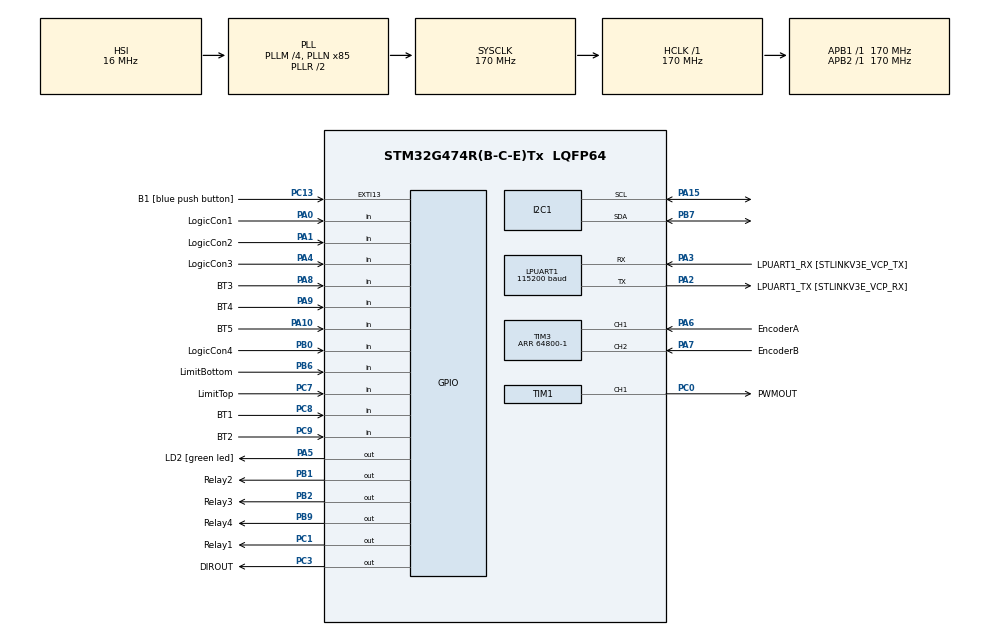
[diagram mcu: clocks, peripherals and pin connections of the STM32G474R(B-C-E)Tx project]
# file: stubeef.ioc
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ARM.CMSIS-DSP.1.15.0.CMSISJjDSP=Source
ARM.CMSIS.6.0.0.CMSISJjCORE=true
I2C1.Timing=0x30A0A7FB
LPUART1.BaudRate=115200
LPUART1.WordLength=UART_WORDLENGTH_8B
Mcu.Family=STM32G4
Mcu.Name=STM32G474R(B-C-E)Tx
Mcu.Package=LQFP64
NVIC.EXTI15_10_IRQn=true\:0\:0\:false\:false\:true\:true\:true\:true
NVIC.PriorityGroup=NVIC_PRIORITYGROUP_4
NVIC.TIM3_IRQn=true\:0\:0\:false\:false\:true\:true\:true\:true
NVIC.TIM5_IRQn=true\:0\:0\:false\:false\:true\:true\:true\:true
PA0.GPIO_Label=LogicCon1
PA0.GPIO_PuPd=GPIO_PULLUP
PA0.Signal=GPIO_Input
PA1.GPIO_Label=LogicCon2
PA1.GPIO_PuPd=GPIO_PULLUP
PA1.Signal=GPIO_Input
PA10.GPIO_Label=BT5
PA10.GPIO_PuPd=GPIO_PULLUP
PA10.Signal=GPIO_Input
PA13.GPIO_Label=T_SWDIO
PA13.Mode=Serial_Wire
PA13.Signal=SYS_JTMS-SWDIO
PA14.GPIO_Label=T_SWCLK
PA14.Mode=Serial_Wire
PA14.Signal=SYS_JTCK-SWCLK
PA15.Mode=I2C
PA15.Signal=I2C1_SCL
PA2.GPIO_Label=LPUART1_TX [STLINKV3E_VCP_RX]
PA2.Mode=Asynchronous
PA2.Signal=LPUART1_TX
PA3.GPIO_Label=LPUART1_RX [STLINKV3E_VCP_TX]
PA3.Mode=Asynchronous
PA3.Signal=LPUART1_RX
PA4.GPIO_Label=LogicCon3
PA4.GPIO_PuPd=GPIO_PULLUP
PA4.Signal=GPIO_Input
PA5.GPIO_Label=LD2 [green led]
PA5.Signal=GPIO_Output
PA6.GPIO_Label=EncoderA
PA6.Signal=S_TIM3_CH1
PA7.GPIO_Label=EncoderB
PA7.Signal=S_TIM3_CH2
PA8.GPIO_Label=BT3
PA8.GPIO_PuPd=GPIO_PULLUP
PA8.Signal=GPIO_Input
PA9.GPIO_Label=BT4
PA9.GPIO_PuPd=GPIO_PULLUP
PA9.Signal=GPIO_Input
PB0.GPIO_Label=LogicCon4
PB0.GPIO_PuPd=GPIO_PULLUP
PB0.Signal=GPIO_Input
PB1.GPIO_Label=Relay2
PB1.Signal=GPIO_Output
PB2.GPIO_Label=Relay3
PB2.Signal=GPIO_Output
PB3.GPIO_Label=T_SWO
PB3.Signal=SYS_JTDO-SWO
PB6.GPIO_Label=LimitBottom
PB6.GPIO_PuPd=GPIO_PULLUP
PB6.Signal=GPIO_Input
PB7.Mode=I2C
PB7.Signal=I2C1_SDA
PB9.GPIO_Label=Relay4
PB9.Signal=GPIO_Output
PC0.GPIO_Label=PWMOUT
PC0.Signal=S_TIM1_CH1
PC1.GPIO_Label=Relay1
PC1.Signal=GPIO_Output
PC13.GPIO_Label=B1 [blue push button]
PC13.Signal=GPXTI13
PC14-OSC32_IN.Mode=LSE-External-Oscillator
PC14-OSC32_IN.Signal=RCC_OSC32_IN
PC15-OSC32_OUT.Mode=LSE-External-Oscillator
PC15-OSC32_OUT.Signal=RCC_OSC32_OUT
PC3.GPIO_Label=DIROUT
PC3.Signal=GPIO_Output
PC7.GPIO_Label=LimitTop
PC7.GPIO_PuPd=GPIO_PULLUP
PC7.Signal=GPIO_Input
PC8.GPIO_Label=BT1
PC8.GPIO_PuPd=GPIO_PULLUP
PC8.Signal=GPIO_Input
PC9.GPIO_Label=BT2
PC9.GPIO_PuPd=GPIO_PULLUP
PC9.Signal=GPIO_Input
PF0-OSC_IN.Mode=HSE-External-Oscillator
PF0-OSC_IN.Signal=RCC_OSC_IN
PF1-OSC_OUT.Mode=HSE-External-Oscillator
PF1-OSC_OUT.Signal=RCC_OSC_OUT
ProjectManager.HeapSize=0x200
ProjectManager.StackSize=0x400
ProjectManager.TargetToolchain=STM32CubeIDE
RCC.ADC12Freq_Value=170000000
RCC.ADC345Freq_Value=170000000
RCC.AHBFreq_Value=170000000
RCC.APB1Freq_Value=170000000
RCC.APB1TimFreq_Value=170000000
RCC.APB2Freq_Value=170000000
RCC.APB2TimFreq_Value=170000000
RCC.CortexFreq_Value=170000000
RCC.EXTERNAL_CLOCK_VALUE=12288000
RCC.HCLKFreq_Value=170000000
RCC.HSE_VALUE=24000000
RCC.HSI48_VALUE=48000000
RCC.HSI_VALUE=16000000
RCC.PLLM=RCC_PLLM_DIV4
RCC.PLLN=85
RCC.RTCClockSelection=RCC_RTCCLKSOURCE_LSE
RCC.SYSCLKFreq_VALUE=170000000
RCC.SYSCLKSource=RCC_SYSCLKSOURCE_PLLCLK
RCC.USBFreq_Value=170000000
RCC.VCOOutputFreq_Value=340000000
SH.S_TIM1_CH1.0=TIM1_CH1,PWM Generation1 CH1
SH.S_TIM3_CH1.0=TIM3_CH1,Encoder_Interface
SH.S_TIM3_CH2.0=TIM3_CH2,Encoder_Interface
TIM1.Channel-PWM\ Generation1\ CH1=TIM_CHANNEL_1
TIM1.PeriodNoDither=4000
TIM1.Prescaler=170-1
TIM3.EncoderMode=TIM_ENCODERMODE_TI12
TIM3.PeriodNoDither=64800-1
TIM5.Prescaler=170-1
VP_ARM.CMSIS-DSP_VS_CMSISJjDSP_1.15.0_1.15.0.Mode=CMSISJjDSP
VP_ARM.CMSIS_VS_CMSISJjCORE_6.0.0_6.0.0.Mode=CMSISJjCORE
VP_SYS_VS_DBSignals.Mode=DisableDeadBatterySignals
VP_TIM2_VS_ClockSourceINT.Mode=Internal
VP_TIM5_VS_ClockSourceINT.Mode=Internal
board=NUCLEO-G474RE

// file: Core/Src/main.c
/* USER CODE BEGIN Header */
/**
  ******************************************************************************
  * @file           : main.c
  * @brief          : Main program body
  ******************************************************************************
  * @attention
  *
  * Copyright (c) 2024 STMicroelectronics.
  * All rights reserved.
  *
  * This software is licensed under terms that can be found in the LICENSE file
  * in the root directory of this software component.
  * If no LICENSE file comes with this software, it is provided AS-IS.
  *
  ******************************************************************************
  */
/* USER CODE END Header */
#include "main.h"

/* USER CODE BEGIN Includes */
#include "arm_math.h"
/* USER CODE END Includes */

I2C_HandleTypeDef hi2c1;

UART_HandleTypeDef hlpuart1;

TIM_HandleTypeDef htim1;
TIM_HandleTypeDef htim2;
TIM_HandleTypeDef htim3;
TIM_HandleTypeDef htim5;

/* USER CODE BEGIN PV */
uint64_t upper = 0;
uint64_t read = 0;
float linearspeed = 0;
uint8_t numOfRound = 0;
uint32_t realPos = 0;

uint32_t QEIReadRaw;
float Degree;
float Radian;
float velodegree;

typedef struct
{
// for record New / Old value to calculate dx / dt
	uint32_t Position[2];
	uint64_t TimeStamp[2];
	float QEIPostion_1turn[2];
	float QEIAngularVelocity;
	float Angle;
	float TotalPos;
	float QEIRound;

}QEI_StructureTypeDef;

QEI_StructureTypeDef QEIdata = {0};
uint64_t _micros = 0;

enum
{
	NEW,OLD
};

//motor
uint16_t duty_cycle = 2000;
uint8_t DIR = 0;

//LogicConv
uint8_t Lo1 = 0;
uint8_t Lo2 = 0;
uint8_t Lo3 = 0;
uint8_t Lo4 = 0;

//Botton
uint8_t bt1=0;
uint8_t bt2=0;
uint8_t bt3=0;
uint8_t bt4=0;
uint8_t bt5=0;

uint8_t ro1=0;
uint8_t ro2=0;
uint8_t ro3=0;
uint8_t ro4=0;

//Limit
uint8_t LimitTop = 0;
uint8_t LimitBottom = 0;
uint8_t x = 0;
//RelayWrite

arm_pid_instance_f32 PID = {0};
float Vfeedback;
float Goal;
uint16_t duty_cycle_pid;
uint8_t mode = 1;
/* USER CODE END PV */

void SystemClock_Config(void);
static void MX_GPIO_Init(void);
static void MX_LPUART1_UART_Init(void);
static void MX_I2C1_Init(void);
static void MX_TIM1_Init(void);
static void MX_TIM3_Init(void);
static void MX_TIM2_Init(void);
static void MX_TIM5_Init(void);
/* USER CODE BEGIN PFP */
uint64_t Micros();
void QEIEncoderPosVel_Update();
void ReadLogicConv();
void ReadButton();
void ReadLimit();
void WritePins();
void MotorDrive();
void RelayDrive();
/* USER CODE END PFP */

int main(void)
{

  /* MCU Configuration--------------------------------------------------------*/

  /* Reset of all peripherals, Initializes the Flash interface and the Systick. */

	HAL_Init();

  /* Configure the system clock */
  SystemClock_Config();

  /* Initialize all configured peripherals */
  MX_GPIO_Init();
  MX_LPUART1_UART_Init();
  MX_I2C1_Init();
  MX_TIM1_Init();
  MX_TIM3_Init();
  MX_TIM2_Init();
  MX_TIM5_Init();
  /* USER CODE BEGIN 2 */
//  HAL_TIM_Base_Start(&htim4);
//  HAL_TIM_PWM_Start(&htim4, TIM_CHANNEL_1);
//  HAL_TIM_PWM_Start(&htim4, TIM_CHANNEL_2);
//
//  __HAL_TIM_SET_COMPARE(&htim4, TIM_CHANNEL_1, 0);
//  __HAL_TIM_SET_COMPARE(&htim4, TIM_CHANNEL_2, 500);

  	//pwm setup
	HAL_TIM_Base_Start(&htim1);
	HAL_TIM_PWM_Start(&htim1, TIM_CHANNEL_1);
	__HAL_TIM_SET_COMPARE(&htim1, TIM_CHANNEL_1,0);

	HAL_TIM_Encoder_Start(&htim3, TIM_CHANNEL_ALL);
	HAL_TIM_Base_Start_IT(&htim5);
	upper = 0;

	PID.Kp =0.1;
	PID.Ki =0.0;
	PID.Kd = 0.0;
	arm_pid_init_f32(&PID, 0);

  /* USER CODE END 2 */

  /* Infinite loop */
  while (1)
  {

    /* USER CODE BEGIN 3 */
	  // 63488 step/31rev
//	  _micros = Micros();

//	 Degree = QEIReadRaw*360/8192;
//	 Radian = QEIReadRaw*(2*3.14)/8192;
	 //Call every 0.1 s
	 static uint64_t timestamp =0;
	 int64_t currentTime = Micros();
	 ReadLimit();
	 if(currentTime > timestamp)
	 {
		 timestamp =currentTime + 10;//us
//		 QEIReadRaw = __HAL_TIM_GET_COUNTER(&htim3);
		 QEIEncoderPosVel_Update();
//		 uint32_t diffPos = QEIdata.Position[1] - QEIdata.Position[0];
//
//
//		 if (diffPos > 100 ) {
//			 numOfRound -= 1;
//		 }
//		 if (diffPos < -100) {
//			 numOfRound += 1;
//		 }

		 realPos = QEIReadRaw + numOfRound * 200;
		 velodegree = QEIdata.QEIAngularVelocity;
		 velodegree = (velodegree*60)/800;
		 linearspeed = velodegree*14/60.0;

//		 if(velodegree > 0){HAL_GPIO_WritePin(GPIOA, GPIO_PIN_5,1);}
//		 else{HAL_GPIO_WritePin(GPIOA, GPIO_PIN_5,0);}

	 }
	 ReadLogicConv();
	 ReadButton();
//	 RelayDrive();
		HAL_GPIO_WritePin(GPIOC, GPIO_PIN_1, ro1);// Relay1
		HAL_GPIO_WritePin(GPIOB, GPIO_PIN_1, ro2);// Relay1
		HAL_GPIO_WritePin(GPIOB, GPIO_PIN_2, ro3);// Relay1
		HAL_GPIO_WritePin(GPIOB, GPIO_PIN_9, ro4);// Relay1
//	 if(mode == 1){
//		 ReadButton();
//	 }else if (mode ==2){
//		 MotorDrive();
//	 }
//	 ReadButton();
//	 MotorDrive(0);
//		if(bt3==0){
//			HAL_GPIO_WritePin(GPIOC, GPIO_PIN_3,1);
//			__HAL_TIM_SET_COMPARE(&htim1, TIM_CHANNEL_1,duty_cycle);
//		}else if(bt2==0){
//			HAL_GPIO_WritePin(GPIOC, GPIO_PIN_3,0);
//			__HAL_TIM_SET_COMPARE(&htim1, TIM_CHANNEL_1,duty_cycle);
//		}else{
//			__HAL_TIM_SET_COMPARE(&htim1, TIM_CHANNEL_1,0);
//		}

  }
  /* USER CODE END 3 */
}

void SystemClock_Config(void)
{
  RCC_OscInitTypeDef RCC_OscInitStruct = {0};
  RCC_ClkInitTypeDef RCC_ClkInitStruct = {0};

  /** Configure the main internal regulator output voltage
  */
  HAL_PWREx_ControlVoltageScaling(PWR_REGULATOR_VOLTAGE_SCALE1_BOOST);

  /** Initializes the RCC Oscillators according to the specified parameters
  * in the RCC_OscInitTypeDef structure.
  */
  RCC_OscInitStruct.OscillatorType = RCC_OSCILLATORTYPE_HSI;
  RCC_OscInitStruct.HSIState = RCC_HSI_ON;
  RCC_OscInitStruct.HSICalibrationValue = RCC_HSICALIBRATION_DEFAULT;
  RCC_OscInitStruct.PLL.PLLState = RCC_PLL_ON;
  RCC_OscInitStruct.PLL.PLLSource = RCC_PLLSOURCE_HSI;
  RCC_OscInitStruct.PLL.PLLM = RCC_PLLM_DIV4;
  RCC_OscInitStruct.PLL.PLLN = 85;
  RCC_OscInitStruct.PLL.PLLP = RCC_PLLP_DIV2;
  RCC_OscInitStruct.PLL.PLLQ = RCC_PLLQ_DIV2;
  RCC_OscInitStruct.PLL.PLLR = RCC_PLLR_DIV2;
  if (HAL_RCC_OscConfig(&RCC_OscInitStruct) != HAL_OK)
  {
    Error_Handler();
  }

  /** Initializes the CPU, AHB and APB buses clocks
  */
  RCC_ClkInitStruct.ClockType = RCC_CLOCKTYPE_HCLK|RCC_CLOCKTYPE_SYSCLK
                              |RCC_CLOCKTYPE_PCLK1|RCC_CLOCKTYPE_PCLK2;
  RCC_ClkInitStruct.SYSCLKSource = RCC_SYSCLKSOURCE_PLLCLK;
  RCC_ClkInitStruct.AHBCLKDivider = RCC_SYSCLK_DIV1;
  RCC_ClkInitStruct.APB1CLKDivider = RCC_HCLK_DIV1;
  RCC_ClkInitStruct.APB2CLKDivider = RCC_HCLK_DIV1;

  if (HAL_RCC_ClockConfig(&RCC_ClkInitStruct, FLASH_LATENCY_4) != HAL_OK)
  {
    Error_Handler();
  }
}

static void MX_I2C1_Init(void)
{

  hi2c1.Instance = I2C1;
  hi2c1.Init.Timing = 0x30A0A7FB;
  hi2c1.Init.OwnAddress1 = 0;
  hi2c1.Init.AddressingMode = I2C_ADDRESSINGMODE_7BIT;
  hi2c1.Init.DualAddressMode = I2C_DUALADDRESS_DISABLE;
  hi2c1.Init.OwnAddress2 = 0;
  hi2c1.Init.OwnAddress2Masks = I2C_OA2_NOMASK;
  hi2c1.Init.GeneralCallMode = I2C_GENERALCALL_DISABLE;
  hi2c1.Init.NoStretchMode = I2C_NOSTRETCH_DISABLE;
  if (HAL_I2C_Init(&hi2c1) != HAL_OK)
  {
    Error_Handler();
  }

  /** Configure Analogue filter
  */
  if (HAL_I2CEx_ConfigAnalogFilter(&hi2c1, I2C_ANALOGFILTER_ENABLE) != HAL_OK)
  {
    Error_Handler();
  }

  /** Configure Digital filter
  */
  if (HAL_I2CEx_ConfigDigitalFilter(&hi2c1, 0) != HAL_OK)
  {
    Error_Handler();
  }

}

static void MX_LPUART1_UART_Init(void)
{

  hlpuart1.Instance = LPUART1;
  hlpuart1.Init.BaudRate = 115200;
  hlpuart1.Init.WordLength = UART_WORDLENGTH_8B;
  hlpuart1.Init.StopBits = UART_STOPBITS_1;
  hlpuart1.Init.Parity = UART_PARITY_NONE;
  hlpuart1.Init.Mode = UART_MODE_TX_RX;
  hlpuart1.Init.HwFlowCtl = UART_HWCONTROL_NONE;
  hlpuart1.Init.OneBitSampling = UART_ONE_BIT_SAMPLE_DISABLE;
  hlpuart1.Init.ClockPrescaler = UART_PRESCALER_DIV1;
  hlpuart1.AdvancedInit.AdvFeatureInit = UART_ADVFEATURE_NO_INIT;
  if (HAL_UART_Init(&hlpuart1) != HAL_OK)
  {
    Error_Handler();
  }
  if (HAL_UARTEx_SetTxFifoThreshold(&hlpuart1, UART_TXFIFO_THRESHOLD_1_8) != HAL_OK)
  {
    Error_Handler();
  }
  if (HAL_UARTEx_SetRxFifoThreshold(&hlpuart1, UART_RXFIFO_THRESHOLD_1_8) != HAL_OK)
  {
    Error_Handler();
  }
  if (HAL_UARTEx_DisableFifoMode(&hlpuart1) != HAL_OK)
  {
    Error_Handler();
  }

}

static void MX_TIM1_Init(void)
{

  TIM_MasterConfigTypeDef sMasterConfig = {0};
  TIM_OC_InitTypeDef sConfigOC = {0};
  TIM_BreakDeadTimeConfigTypeDef sBreakDeadTimeConfig = {0};

  htim1.Instance = TIM1;
  htim1.Init.Prescaler = 170-1;
  htim1.Init.CounterMode = TIM_COUNTERMODE_UP;
  htim1.Init.Period = 4000;
  htim1.Init.ClockDivision = TIM_CLOCKDIVISION_DIV1;
  htim1.Init.RepetitionCounter = 0;
  htim1.Init.AutoReloadPreload = TIM_AUTORELOAD_PRELOAD_DISABLE;
  if (HAL_TIM_PWM_Init(&htim1) != HAL_OK)
  {
    Error_Handler();
  }
  sMasterConfig.MasterOutputTrigger = TIM_TRGO_RESET;
  sMasterConfig.MasterOutputTrigger2 = TIM_TRGO2_RESET;
  sMasterConfig.MasterSlaveMode = TIM_MASTERSLAVEMODE_DISABLE;
  if (HAL_TIMEx_MasterConfigSynchronization(&htim1, &sMasterConfig) != HAL_OK)
  {
    Error_Handler();
  }
  sConfigOC.OCMode = TIM_OCMODE_PWM1;
  sConfigOC.Pulse = 0;
  sConfigOC.OCPolarity = TIM_OCPOLARITY_HIGH;
  sConfigOC.OCNPolarity = TIM_OCNPOLARITY_HIGH;
  sConfigOC.OCFastMode = TIM_OCFAST_DISABLE;
  sConfigOC.OCIdleState = TIM_OCIDLESTATE_RESET;
  sConfigOC.OCNIdleState = TIM_OCNIDLESTATE_RESET;
  if (HAL_TIM_PWM_ConfigChannel(&htim1, &sConfigOC, TIM_CHANNEL_1) != HAL_OK)
  {
    Error_Handler();
  }
  sBreakDeadTimeConfig.OffStateRunMode = TIM_OSSR_DISABLE;
  sBreakDeadTimeConfig.OffStateIDLEMode = TIM_OSSI_DISABLE;
  sBreakDeadTimeConfig.LockLevel = TIM_LOCKLEVEL_OFF;
  sBreakDeadTimeConfig.DeadTime = 0;
  sBreakDeadTimeConfig.BreakState = TIM_BREAK_DISABLE;
  sBreakDeadTimeConfig.BreakPolarity = TIM_BREAKPOLARITY_HIGH;
  sBreakDeadTimeConfig.BreakFilter = 0;
  sBreakDeadTimeConfig.BreakAFMode = TIM_BREAK_AFMODE_INPUT;
  sBreakDeadTimeConfig.Break2State = TIM_BREAK2_DISABLE;
  sBreakDeadTimeConfig.Break2Polarity = TIM_BREAK2POLARITY_HIGH;
  sBreakDeadTimeConfig.Break2Filter = 0;
  sBreakDeadTimeConfig.Break2AFMode = TIM_BREAK_AFMODE_INPUT;
  sBreakDeadTimeConfig.AutomaticOutput = TIM_AUTOMATICOUTPUT_DISABLE;
  if (HAL_TIMEx_ConfigBreakDeadTime(&htim1, &sBreakDeadTimeConfig) != HAL_OK)
  {
    Error_Handler();
  }
  HAL_TIM_MspPostInit(&htim1);

}

static void MX_TIM2_Init(void)
{

  TIM_ClockConfigTypeDef sClockSourceConfig = {0};
  TIM_MasterConfigTypeDef sMasterConfig = {0};

  htim2.Instance = TIM2;
  htim2.Init.Prescaler = 0;
  htim2.Init.CounterMode = TIM_COUNTERMODE_UP;
  htim2.Init.Period = 4294967295;
  htim2.Init.ClockDivision = TIM_CLOCKDIVISION_DIV1;
  htim2.Init.AutoReloadPreload = TIM_AUTORELOAD_PRELOAD_DISABLE;
  if (HAL_TIM_Base_Init(&htim2) != HAL_OK)
  {
    Error_Handler();
  }
  sClockSourceConfig.ClockSource = TIM_CLOCKSOURCE_INTERNAL;
  if (HAL_TIM_ConfigClockSource(&htim2, &sClockSourceConfig) != HAL_OK)
  {
    Error_Handler();
  }
  sMasterConfig.MasterOutputTrigger = TIM_TRGO_RESET;
  sMasterConfig.MasterSlaveMode = TIM_MASTERSLAVEMODE_DISABLE;
  if (HAL_TIMEx_MasterConfigSynchronization(&htim2, &sMasterConfig) != HAL_OK)
  {
    Error_Handler();
  }

}

static void MX_TIM3_Init(void)
{

  TIM_Encoder_InitTypeDef sConfig = {0};
  TIM_MasterConfigTypeDef sMasterConfig = {0};

  htim3.Instance = TIM3;
  htim3.Init.Prescaler = 0;
  htim3.Init.CounterMode = TIM_COUNTERMODE_UP;
  htim3.Init.Period = 64799;
  htim3.Init.ClockDivision = TIM_CLOCKDIVISION_DIV1;
  htim3.Init.AutoReloadPreload = TIM_AUTORELOAD_PRELOAD_DISABLE;
  sConfig.EncoderMode = TIM_ENCODERMODE_TI12;
  sConfig.IC1Polarity = TIM_ICPOLARITY_RISING;
  sConfig.IC1Selection = TIM_ICSELECTION_DIRECTTI;
  sConfig.IC1Prescaler = TIM_ICPSC_DIV1;
  sConfig.IC1Filter = 0;
  sConfig.IC2Polarity = TIM_ICPOLARITY_RISING;
  sConfig.IC2Selection = TIM_ICSELECTION_DIRECTTI;
  sConfig.IC2Prescaler = TIM_ICPSC_DIV1;
  sConfig.IC2Filter = 0;
  if (HAL_TIM_Encoder_Init(&htim3, &sConfig) != HAL_OK)
  {
    Error_Handler();
  }
  sMasterConfig.MasterOutputTrigger = TIM_TRGO_RESET;
  sMasterConfig.MasterSlaveMode = TIM_MASTERSLAVEMODE_DISABLE;
  if (HAL_TIMEx_MasterConfigSynchronization(&htim3, &sMasterConfig) != HAL_OK)
  {
    Error_Handler();
  }

}

static void MX_TIM5_Init(void)
{

  TIM_ClockConfigTypeDef sClockSourceConfig = {0};
  TIM_MasterConfigTypeDef sMasterConfig = {0};

  htim5.Instance = TIM5;
  htim5.Init.Prescaler = 170-1;
  htim5.Init.CounterMode = TIM_COUNTERMODE_UP;
  htim5.Init.Period = 4294967295;
  htim5.Init.ClockDivision = TIM_CLOCKDIVISION_DIV1;
  htim5.Init.AutoReloadPreload = TIM_AUTORELOAD_PRELOAD_DISABLE;
  if (HAL_TIM_Base_Init(&htim5) != HAL_OK)
  {
    Error_Handler();
  }
  sClockSourceConfig.ClockSource = TIM_CLOCKSOURCE_INTERNAL;
  if (HAL_TIM_ConfigClockSource(&htim5, &sClockSourceConfig) != HAL_OK)
  {
    Error_Handler();
  }
  sMasterConfig.MasterOutputTrigger = TIM_TRGO_RESET;
  sMasterConfig.MasterSlaveMode = TIM_MASTERSLAVEMODE_DISABLE;
  if (HAL_TIMEx_MasterConfigSynchronization(&htim5, &sMasterConfig) != HAL_OK)
  {
    Error_Handler();
  }

}

static void MX_GPIO_Init(void)
{
  GPIO_InitTypeDef GPIO_InitStruct = {0};

  /* GPIO Ports Clock Enable */
  __HAL_RCC_GPIOC_CLK_ENABLE();
  __HAL_RCC_GPIOF_CLK_ENABLE();
  __HAL_RCC_GPIOA_CLK_ENABLE();
  __HAL_RCC_GPIOB_CLK_ENABLE();

  /*Configure GPIO pin Output Level */
  HAL_GPIO_WritePin(GPIOC, Relay1_Pin|DIROUT_Pin, GPIO_PIN_RESET);

  /*Configure GPIO pin Output Level */
  HAL_GPIO_WritePin(LD2_GPIO_Port, LD2_Pin, GPIO_PIN_RESET);

  /*Configure GPIO pin Output Level */
  HAL_GPIO_WritePin(GPIOB, Relay2_Pin|Relay3_Pin|Relay4_Pin, GPIO_PIN_RESET);

  /*Configure GPIO pin : B1_Pin */
  GPIO_InitStruct.Pin = B1_Pin;
  GPIO_InitStruct.Mode = GPIO_MODE_IT_RISING;
  GPIO_InitStruct.Pull = GPIO_NOPULL;
  HAL_GPIO_Init(B1_GPIO_Port, &GPIO_InitStruct);

  /*Configure GPIO pins : Relay1_Pin DIROUT_Pin */
  GPIO_InitStruct.Pin = Relay1_Pin|DIROUT_Pin;
  GPIO_InitStruct.Mode = GPIO_MODE_OUTPUT_PP;
  GPIO_InitStruct.Pull = GPIO_NOPULL;
  GPIO_InitStruct.Speed = GPIO_SPEED_FREQ_LOW;
  HAL_GPIO_Init(GPIOC, &GPIO_InitStruct);

  /*Configure GPIO pins : LogicCon1_Pin LogicCon2_Pin LogicCon3_Pin BT3_Pin
                           BT4_Pin BT5_Pin */
  GPIO_InitStruct.Pin = LogicCon1_Pin|LogicCon2_Pin|LogicCon3_Pin|BT3_Pin
                          |BT4_Pin|BT5_Pin;
  GPIO_InitStruct.Mode = GPIO_MODE_INPUT;
  GPIO_InitStruct.Pull = GPIO_PULLUP;
  HAL_GPIO_Init(GPIOA, &GPIO_InitStruct);

  /*Configure GPIO pin : LD2_Pin */
  GPIO_InitStruct.Pin = LD2_Pin;
  GPIO_InitStruct.Mode = GPIO_MODE_OUTPUT_PP;
  GPIO_InitStruct.Pull = GPIO_NOPULL;
  GPIO_InitStruct.Speed = GPIO_SPEED_FREQ_LOW;
  HAL_GPIO_Init(LD2_GPIO_Port, &GPIO_InitStruct);

  /*Configure GPIO pins : LogicCon4_Pin LimitBottom_Pin */
  GPIO_InitStruct.Pin = LogicCon4_Pin|LimitBottom_Pin;
  GPIO_InitStruct.Mode = GPIO_MODE_INPUT;
  GPIO_InitStruct.Pull = GPIO_PULLUP;
  HAL_GPIO_Init(GPIOB, &GPIO_InitStruct);

  /*Configure GPIO pins : Relay2_Pin Relay3_Pin Relay4_Pin */
  GPIO_InitStruct.Pin = Relay2_Pin|Relay3_Pin|Relay4_Pin;
  GPIO_InitStruct.Mode = GPIO_MODE_OUTPUT_PP;
  GPIO_InitStruct.Pull = GPIO_NOPULL;
  GPIO_InitStruct.Speed = GPIO_SPEED_FREQ_LOW;
  HAL_GPIO_Init(GPIOB, &GPIO_InitStruct);

  /*Configure GPIO pins : LimitTop_Pin BT1_Pin BT2_Pin */
  GPIO_InitStruct.Pin = LimitTop_Pin|BT1_Pin|BT2_Pin;
  GPIO_InitStruct.Mode = GPIO_MODE_INPUT;
  GPIO_InitStruct.Pull = GPIO_PULLUP;
  HAL_GPIO_Init(GPIOC, &GPIO_InitStruct);

  /* EXTI interrupt init*/
  HAL_NVIC_SetPriority(EXTI15_10_IRQn, 0, 0);
  HAL_NVIC_EnableIRQ(EXTI15_10_IRQn);

}

/* USER CODE BEGIN 4 */
void HAL_TIM_PeriodElapsedCallback(TIM_HandleTypeDef *htim)
{
if(htim == &htim5)
{
	upper+=1;
	HAL_GPIO_TogglePin(GPIOA, GPIO_PIN_5);
}
}

uint64_t Micros(){
//	static uint32_t timestamp = 0;
	uint32_t lower = 0;
	uint64_t time = 0;
	lower = __HAL_TIM_GET_COUNTER(&htim5);
	time = (upper<<32)|lower;
	return time;
}

void QEIEncoderPosVel_Update()
{
	//collect data
	QEIdata.TimeStamp[NEW] = Micros();
	QEIdata.Position[NEW] = __HAL_TIM_GET_COUNTER(&htim3);
	//Position 1 turn calculation
	QEIdata.QEIPostion_1turn[NEW] = QEIdata.Position[NEW] % 800;
	QEIdata.Angle = QEIdata.QEIPostion_1turn[NEW]*360/800;
	//calculate dx
	int32_t diffPosition = QEIdata.Position[NEW] - QEIdata.Position[OLD];
	int32_t diff1turn = QEIdata.QEIPostion_1turn[NEW]-QEIdata.QEIPostion_1turn[OLD];
	//Handle Warp around
	if(diffPosition > 32400){
		diffPosition -= 64800;
		}
	if(diffPosition < -32400){
		diffPosition += 64800;
	}
	//Calculate Linear Position in mm unit
	if(diff1turn > 400){
			QEIdata.QEIRound -= 1;
		}
	if(diff1turn < -400){
			QEIdata.QEIRound += 1;
		}
	QEIdata.TotalPos = (QEIdata.QEIRound*14) + QEIdata.QEIPostion_1turn[NEW]*14/800; //linear pos in mm uint

	//calculate dt
	float diffTime = (QEIdata.TimeStamp[NEW]-QEIdata.TimeStamp[OLD]) * 0.00001;
	//calculate anglar velocity
	QEIdata.QEIAngularVelocity = diffPosition / diffTime;
	//store value for next loop
	QEIdata.Position[OLD] = QEIdata.Position[NEW];
	QEIdata.TimeStamp[OLD] = QEIdata.TimeStamp[NEW];
	QEIdata.QEIPostion_1turn[OLD] = QEIdata.QEIPostion_1turn[NEW];

}

void ReadLogicConv(){
	Lo1 = HAL_GPIO_ReadPin(GPIOA, GPIO_PIN_0);//Lo1
	Lo2 = HAL_GPIO_ReadPin(GPIOA, GPIO_PIN_1);//Lo2
	Lo3 = HAL_GPIO_ReadPin(GPIOA, GPIO_PIN_4);//Lo3
	Lo4 = HAL_GPIO_ReadPin(GPIOB, GPIO_PIN_0);//Lo4
}

void ReadButton(){
	bt1 = HAL_GPIO_ReadPin(GPIOC, GPIO_PIN_8);//BT1
	bt2 = HAL_GPIO_ReadPin(GPIOC, GPIO_PIN_9);//BT2
	bt3 = HAL_GPIO_ReadPin(GPIOA, GPIO_PIN_8);//BT3
	bt4 = HAL_GPIO_ReadPin(GPIOA, GPIO_PIN_9);//BT4
	bt5 = HAL_GPIO_ReadPin(GPIOA, GPIO_PIN_10);//BT5
}

void ReadLimit(){
	LimitBottom = HAL_GPIO_ReadPin(GPIOC, GPIO_PIN_7);// LimitTop
	LimitTop = HAL_GPIO_ReadPin(GPIOB, GPIO_PIN_6);// LimitBottom

}

void MotorDrive(){
	Vfeedback = arm_pid_f32(&PID, Goal - QEIdata.TotalPos);
	if(Vfeedback > 12){
		Vfeedback = 12;
	}
	if(Vfeedback < -12){
		Vfeedback = -12;
	}
	//if(Vfeedback < 0.3  )

	if(Vfeedback>0){
			HAL_GPIO_WritePin(GPIOC, GPIO_PIN_3,0);
		}else{
			HAL_GPIO_WritePin(GPIOC, GPIO_PIN_3,1);
			Vfeedback = Vfeedback*(-1);
		}
	duty_cycle_pid = Vfeedback*4000/12;
	__HAL_TIM_SET_COMPARE(&htim1, TIM_CHANNEL_1,duty_cycle_pid);
}

void RelayDrive(){
	HAL_GPIO_WritePin(GPIOC, GPIO_PIN_1, 1);// Relay1
	HAL_GPIO_WritePin(GPIOB, GPIO_PIN_1, 1);// Relay1
	HAL_GPIO_WritePin(GPIOB, GPIO_PIN_2, 1);// Relay1
	HAL_GPIO_WritePin(GPIOB, GPIO_PIN_9, 1);// Relay1
}
/* USER CODE END 4 */

void Error_Handler(void)
{
  __disable_irq();
  while (1)
  {
  }
}
